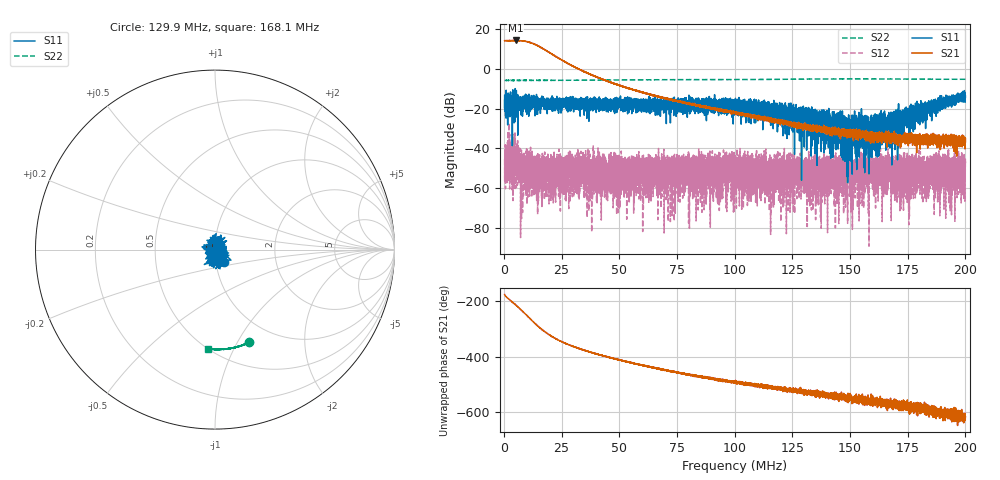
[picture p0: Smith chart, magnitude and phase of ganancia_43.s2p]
# Hz S DB R 50
! CMT, M5065, 19127446, 24.2.4/2
! Date: 11/8/2024 4:10:19 PM
! Data: Format (Calibration Info)
! Freq	S11:dB/Ang(F2)	S21:dB/Ang(F2)	S12:dB/Ang(F2)	S22:dB/Ang(F2)
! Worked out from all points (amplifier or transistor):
!   9000 points, 300 kHz to 200 MHz, reference 50 ohm
!   highest |S21| = 14.2 dB at 5.027 MHz (marker M1)
!   |S21| within 3 dB of that: start of sweep to 15.18 MHz
!   unconditionally stable (mu >= 1): start of sweep to end of sweep
!   at 33.59 MHz: K = 158.73, MAG = 0.7 dB, |S12| = -52.2 dB
!   at 100.2 MHz: K = 6429.17, MAG = -20.5 dB, |S12| = -63.3 dB
!   at 200 MHz: K = 5475.47, MAG = -35.1 dB, |S12| = -47.4 dB
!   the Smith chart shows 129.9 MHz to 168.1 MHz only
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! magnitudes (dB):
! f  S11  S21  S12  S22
! 300 kHz  -15.7  14.1  -45.5  -5.8
! 5.027 MHz  -16.3  14.2  -47.3  -5.8
! 15.57 MHz  -17.2  11.0  -46.3  -5.8
! 28.64 MHz  -18.1  2.1  -45.1  -5.8
! 33.59 MHz  -17.2  -0.8  -52.2  -5.7
! 66.87 MHz  -16.8  -13.8  -52.6  -5.5
! 100.2 MHz  -16.4  -22.1  -63.3  -5.4
! 112.2 MHz  -19.4  -24.0  -51.3  -5.3
! 115.8 MHz  -19.3  -25.2  -46.9  -5.3
! 118.2 MHz  -25.5  -25.9  -51.4  -5.3
! 129.1 MHz  -22.1  -28.8  -51.3  -5.2
! 133.4 MHz  -27.5  -28.5  -47.7  -5.2
! 136.2 MHz  -31.9  -30.9  -54.9  -5.1
! 138.1 MHz  -28.5  -29.6  -54.1  -5.1
! 142.1 MHz  -37.2  -31.3  -48.5  -5.1
! 144.2 MHz  -30.4  -29.9  -50.8  -5.1
! 153.3 MHz  -33.5  -31.1  -45.4  -5.1
! 154.8 MHz  -34.2  -33.9  -45.7  -5.1
! 157.1 MHz  -31.0  -31.6  -49.6  -5.1
! 166.7 MHz  -39.1  -32.2  -47.1  -5.1
! 182.1 MHz  -20.1  -37.2  -47.0  -5.2
! 200 MHz  -14.4  -36.8  -47.4  -5.3
